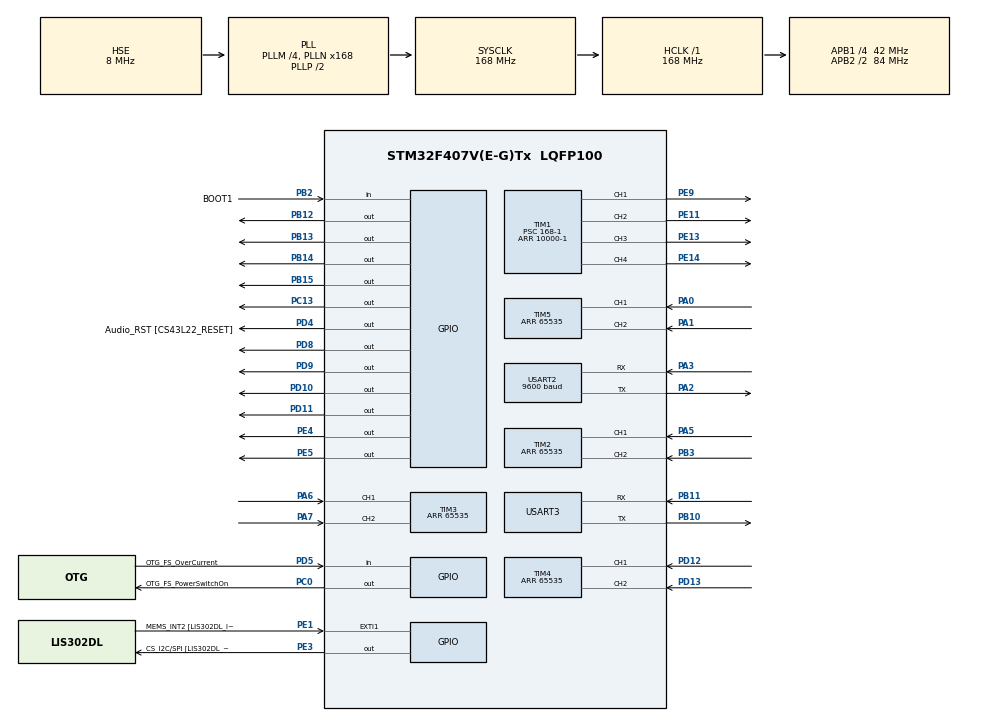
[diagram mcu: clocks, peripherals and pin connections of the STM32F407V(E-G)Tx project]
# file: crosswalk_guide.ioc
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Mcu.Family=STM32F4
Mcu.Name=STM32F407V(E-G)Tx
Mcu.Package=LQFP100
NVIC.PriorityGroup=NVIC_PRIORITYGROUP_0
NVIC.TIM6_DAC_IRQn=true\:0\:0\:false\:true\:true\:2\:true\:true
NVIC.USART2_IRQn=true\:0\:0\:false\:true\:true\:1\:true\:true
PA0-WKUP.Signal=S_TIM5_CH1
PA1.Signal=S_TIM5_CH2
PA2.Mode=Asynchronous
PA2.Signal=USART2_TX
PA3.Mode=Asynchronous
PA3.Signal=USART2_RX
PA5.Signal=S_TIM2_CH1_ETR
PA6.GPIO_PuPd=GPIO_NOPULL
PA6.Signal=S_TIM3_CH1
PA7.GPIO_PuPd=GPIO_NOPULL
PA7.Signal=S_TIM3_CH2
PB10.Mode=Asynchronous
PB10.Signal=USART3_TX
PB11.Mode=Asynchronous
PB11.Signal=USART3_RX
PB12.Signal=GPIO_Output
PB13.Signal=GPIO_Output
PB14.Signal=GPIO_Output
PB15.Signal=GPIO_Output
PB2.GPIO_Label=BOOT1
PB2.GPIO_Mode=GPIO_MODE_INPUT
PB2.GPIO_PuPd=GPIO_NOPULL
PB2.Signal=GPIO_Input
PB3.Signal=S_TIM2_CH2
PC0.GPIO_Label=OTG_FS_PowerSwitchOn
PC0.GPIO_PuPd=GPIO_NOPULL
PC0.GPIO_Speed=GPIO_SPEED_FREQ_LOW
PC0.PinState=GPIO_PIN_SET
PC0.Signal=GPIO_Output
PC13-ANTI_TAMP.Signal=GPIO_Output
PC14-OSC32_IN.Mode=LSE-External-Oscillator
PC14-OSC32_IN.Signal=RCC_OSC32_IN
PC15-OSC32_OUT.Mode=LSE-External-Oscillator
PC15-OSC32_OUT.Signal=RCC_OSC32_OUT
PD10.Signal=GPIO_Output
PD11.Signal=GPIO_Output
PD12.GPIO_PuPd=GPIO_NOPULL
PD12.Signal=S_TIM4_CH1
PD13.GPIO_PuPd=GPIO_NOPULL
PD13.Signal=S_TIM4_CH2
PD4.GPIO_Label=Audio_RST [CS43L22_RESET]
PD4.GPIO_PuPd=GPIO_NOPULL
PD4.GPIO_Speed=GPIO_SPEED_FREQ_LOW
PD4.Signal=GPIO_Output
PD5.GPIO_Label=OTG_FS_OverCurrent
PD5.GPIO_Mode=GPIO_MODE_INPUT
PD5.GPIO_PuPd=GPIO_NOPULL
PD5.Signal=GPIO_Input
PD8.Signal=GPIO_Output
PD9.Signal=GPIO_Output
PE1.GPIO_Label=MEMS_INT2 [LIS302DL_INT2]
PE1.GPIO_ModeDefaultEXTI=GPIO_MODE_EVT_RISING
PE1.GPIO_PuPd=GPIO_NOPULL
PE1.Signal=GPXTI1
PE11.Signal=S_TIM1_CH2
PE13.Signal=S_TIM1_CH3
PE14.Signal=S_TIM1_CH4
PE3.GPIO_Label=CS_I2C/SPI [LIS302DL_CS_I2C/SPI]
PE3.GPIO_PuPd=GPIO_NOPULL
PE3.GPIO_Speed=GPIO_SPEED_FREQ_LOW
PE3.Signal=GPIO_Output
PE4.Signal=GPIO_Output
PE5.Signal=GPIO_Output
PE9.Signal=S_TIM1_CH1
PH0-OSC_IN.Mode=HSE-External-Oscillator
PH0-OSC_IN.Signal=RCC_OSC_IN
PH1-OSC_OUT.Mode=HSE-External-Oscillator
PH1-OSC_OUT.Signal=RCC_OSC_OUT
ProjectManager.HeapSize=0x200
ProjectManager.StackSize=0x400
ProjectManager.TargetToolchain=TrueSTUDIO
RCC.48MHZClocksFreq_Value=48000000
RCC.AHBFreq_Value=168000000
RCC.APB1CLKDivider=RCC_HCLK_DIV4
RCC.APB1Freq_Value=42000000
RCC.APB1TimFreq_Value=84000000
RCC.APB2CLKDivider=RCC_HCLK_DIV2
RCC.APB2Freq_Value=84000000
RCC.APB2TimFreq_Value=168000000
RCC.CortexFreq_Value=168000000
RCC.HCLKFreq_Value=168000000
RCC.HSE_VALUE=8000000
RCC.HSI_VALUE=16000000
RCC.PLLM=4
RCC.PLLN=168
RCC.PLLQ=7
RCC.PLLSourceVirtual=RCC_PLLSOURCE_HSE
RCC.SYSCLKFreq_VALUE=168000000
RCC.SYSCLKSource=RCC_SYSCLKSOURCE_PLLCLK
RCC.VCOOutputFreq_Value=336000000
SH.S_TIM1_CH1.0=TIM1_CH1,PWM Generation1 CH1
SH.S_TIM1_CH2.0=TIM1_CH2,PWM Generation2 CH2
SH.S_TIM1_CH3.0=TIM1_CH3,PWM Generation3 CH3
SH.S_TIM1_CH4.0=TIM1_CH4,PWM Generation4 CH4
SH.S_TIM2_CH1_ETR.0=TIM2_CH1,Encoder_Interface
SH.S_TIM2_CH2.0=TIM2_CH2,Encoder_Interface
SH.S_TIM3_CH1.0=TIM3_CH1,Encoder_Interface
SH.S_TIM3_CH2.0=TIM3_CH2,Encoder_Interface
SH.S_TIM4_CH1.0=TIM4_CH1,Encoder_Interface
SH.S_TIM4_CH2.0=TIM4_CH2,Encoder_Interface
SH.S_TIM5_CH1.0=TIM5_CH1,Encoder_Interface
SH.S_TIM5_CH2.0=TIM5_CH2,Encoder_Interface
TIM1.Channel-PWM\ Generation1\ CH1=TIM_CHANNEL_1
TIM1.Channel-PWM\ Generation2\ CH2=TIM_CHANNEL_2
TIM1.Channel-PWM\ Generation3\ CH3=TIM_CHANNEL_3
TIM1.Channel-PWM\ Generation4\ CH4=TIM_CHANNEL_4
TIM1.Period=10000-1
TIM1.Prescaler=168-1
TIM2.EncoderMode=TIM_ENCODERMODE_TI12
TIM2.Period=65535
TIM3.EncoderMode=TIM_ENCODERMODE_TI12
TIM3.Period=65535
TIM4.EncoderMode=TIM_ENCODERMODE_TI12
TIM4.Period=65535
TIM5.EncoderMode=TIM_ENCODERMODE_TI12
TIM5.Period=65535
TIM6.Period=999
TIM6.Prescaler=4199
USART2.BaudRate=9600
USART2.VirtualMode=VM_ASYNC
USART3.VirtualMode=VM_ASYNC
VP_TIM1_VS_ClockSourceINT.Mode=Internal
VP_TIM6_VS_ClockSourceINT.Mode=Enable_Timer
board=STM32F407G-DISC1

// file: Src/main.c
/* USER CODE BEGIN Header */
/**
  ******************************************************************************
  * @file           : main.c
  * @brief          : Main program body
  ******************************************************************************
  * @attention
  *
  * <h2><center>&copy; Copyright (c) 2020 STMicroelectronics.
  * All rights reserved.</center></h2>
  *
  * This software component is licensed by ST under BSD 3-Clause license,
  * the "License"; You may not use this file except in compliance with the
  * License. You may obtain a copy of the License at:
  *                        opensource.org/licenses/BSD-3-Clause
  *
  ******************************************************************************
  */
/* USER CODE END Header */

#include "main.h"
#include "tim.h"
#include "usart.h"
#include "gpio.h"

/* USER CODE BEGIN Includes */
#include <math.h>
#include <stdbool.h>
/* USER CODE END Includes */

/* USER CODE BEGIN PV */
uint8_t rx2_data = 0;
uint16_t speed = 6000;
uint16_t speed_LR = 9000;
uint16_t speed_turn = 4000;

uint32_t desired_speed = 3000;
uint32_t MOTER_PWM[4] = {0};
uint32_t Kp = 1;
uint32_t encoder_cnt[4] = {0};
uint32_t encoder_speed[4] = {0};
int32_t error_speed[4] = {0};
int32_t PID_speed[4] = {0};
uint32_t old_PID_speed[4] = {3000, 3000, 3000, 3000};

/***********lidar************/
//response data
bool scan_start = false;
uint8_t rx3_start[7] = {0};
uint8_t rx3_data[5] = {0};
uint8_t Q = 0;
bool S = false;
uint16_t angle;
uint16_t d;
uint16_t distance[360] = {0};
int16_t avg_DIFF = 0;

//protocal
uint8_t scan_command[2] = {0xA5,0x20};
uint8_t stop_command[2] = {0xA5,0x25};
uint8_t soft_reboot[2] = {0xA5,0x40};
uint8_t scan_express[2] = {0xA5,0x82};
uint8_t scan_force[2] = {0xA5,0x21};
uint8_t device_info[2] = {0xA5,0x50};
uint8_t health_status[2] = {0xA5,0x52};
uint8_t sample_rate[2] = {0xA5,0x59};
uint8_t scan_response[7] = {0xa5, 0x5a, 0x5, 0x0, 0x0, 0x40, 0x81};
/* USER CODE END PV */

void SystemClock_Config(void);
static void MX_NVIC_Init(void);

/* USER CODE BEGIN 0 */
bool array_element_of_index_equal(uint8_t a[], uint8_t b[], uint8_t size) {
   uint8_t i;
   for(i=0; i<size; i++){
      if( a[i] != b[i] )
         return false;
   }
   return true;
}
int16_t array_avg_compare(uint16_t distance[]){

   uint32_t sum_R = 0;
   uint32_t sum_L = 0;
   uint8_t len_L = 0;
   uint8_t len_R = 0;
   uint16_t avg_R = 0;
   uint16_t avg_L = 0;
   int16_t avg_diff = 0;

   for(int i=0; i<90; i++){
      sum_R += distance[i];
      if(distance[i]!=0){
         len_R++;
      }
   }
   avg_R = sum_R/len_R;

   for(int i=270; i<360; i++){
      sum_L += distance[i];
      if(distance[i]!=0){
         len_L++;
      }
   }
   avg_L = sum_L/len_L;

   avg_diff = avg_R - avg_L;

   return avg_diff;
}
void HAL_TIM_PeriodElapsedCallback(TIM_HandleTypeDef *htim)	//Timer interrupt every 20ms
{
	if(htim->Instance == TIM6){

		//HAL_GPIO_WritePin(GPIOC,GPIO_PIN_13,GPIO_PIN_SET);
		encoder_cnt[0] = TIM2->CNT;
		TIM2->CNT=0;

		encoder_cnt[1] = TIM3->CNT;
		TIM3->CNT=0;

		encoder_cnt[2] = TIM4->CNT;
		TIM4->CNT=0;

		encoder_cnt[3] = TIM5->CNT;
		TIM5->CNT=0;

		encoder_speed[0] = 164.18 * exp(0.0112*encoder_cnt[0]);
		encoder_speed[1] = 164.18 * exp(0.0112*encoder_cnt[1]);
		encoder_speed[2] = 164.18 * exp(0.0112*encoder_cnt[2]);
		encoder_speed[3] = 164.18 * exp(0.0112*encoder_cnt[3]);

		error_speed[0] = desired_speed - encoder_speed[0];
		error_speed[1] = desired_speed - encoder_speed[1];
		error_speed[2] = desired_speed - encoder_speed[2];
		error_speed[3] = desired_speed - encoder_speed[3];

		PID_speed[0] = old_PID_speed[0] + Kp*error_speed[0];
		PID_speed[1] = old_PID_speed[1] + Kp*error_speed[1];
		PID_speed[2] = old_PID_speed[2] + Kp*error_speed[2];
		PID_speed[3] = old_PID_speed[3] + Kp*error_speed[3];

		old_PID_speed[0] = PID_speed[0];
		old_PID_speed[1] = PID_speed[1];
		old_PID_speed[2] = PID_speed[2];
		old_PID_speed[3] = PID_speed[3];
	}
}

/* USER CODE END 0 */

int main(void){

  /* MCU Configuration--------------------------------------------------------*/

  /* Reset of all peripherals, Initializes the Flash interface and the Systick. */
  HAL_Init();

  /* Configure the system clock */
  SystemClock_Config();

  /* Initialize all configured peripherals */
  MX_GPIO_Init();
  MX_TIM1_Init();
  MX_TIM2_Init();
  MX_TIM3_Init();
  MX_TIM4_Init();
  MX_TIM6_Init();
  MX_USART2_UART_Init();
  MX_USART3_UART_Init();
  MX_TIM5_Init();

  /* Initialize interrupts */
  MX_NVIC_Init();
  /* USER CODE BEGIN 2 */

  HAL_Delay(3000);

  //Initialize for motor PWM
  HAL_TIM_PWM_Start(&htim1, TIM_CHANNEL_1);
  HAL_TIM_PWM_Start(&htim1, TIM_CHANNEL_2);
  HAL_TIM_PWM_Start(&htim1, TIM_CHANNEL_3);
  HAL_TIM_PWM_Start(&htim1, TIM_CHANNEL_4);

  //Initialize for motor direction
  HAL_GPIO_WritePin(GPIOB, GPIO_PIN_12, SET);
  HAL_GPIO_WritePin(GPIOB, GPIO_PIN_13, RESET);

  HAL_GPIO_WritePin(GPIOB, GPIO_PIN_14, SET);
  HAL_GPIO_WritePin(GPIOB, GPIO_PIN_15, RESET);

  HAL_GPIO_WritePin(GPIOD, GPIO_PIN_8, SET);
  HAL_GPIO_WritePin(GPIOD, GPIO_PIN_9, RESET);

  HAL_GPIO_WritePin(GPIOD, GPIO_PIN_10, SET);
  HAL_GPIO_WritePin(GPIOD, GPIO_PIN_11, RESET);

  //Initialize for encoder count value
  TIM2->CNT = 0;
  TIM3->CNT = 0;
  TIM4->CNT = 0;
  TIM5->CNT = 0;

  //Initialize for Encoder
  HAL_TIM_Encoder_Start(&htim2, TIM_CHANNEL_ALL);
  HAL_TIM_Encoder_Start(&htim3, TIM_CHANNEL_ALL);
  HAL_TIM_Encoder_Start(&htim4, TIM_CHANNEL_ALL);
  HAL_TIM_Encoder_Start(&htim5, TIM_CHANNEL_ALL);

  //Initialize for timer interrupt initialization for Encoder (50ms)
  HAL_TIM_Base_Start_IT(&htim6);

  //LIDAR_scan_start
  //HAL_UART_Transmit(&huart3, &scan_command, 2, 100);

  //robotArm to Cart
  HAL_UART_Receive_IT(&huart2,&rx2_data,1);

  /* USER CODE END 2 */

  /* Infinite loop */
  /* USER CODE BEGIN WHILE */
  while (1)
  {

	  //LIDAR
	  /*
	  if(scan_start){
		  if(HAL_UART_Receive(&huart3, &rx3_data, 5, 10) == HAL_OK){

			 Q = rx3_data[0]>>2;
			 S = (rx3_data[0] & 0x01) ? 1 : 0;
			 angle = (rx3_data[2]<<7 | rx3_data[1]>>1)/64;
			 d = (rx3_data[4]<<8 | rx3_data[3])/4;
			 if(d >= 5000){
				distance[angle] = 5000;
			 }
			 else{
				distance[angle] = d;
			 }
			 //printf("%d,%d\r\n",S,angle);
			 //printf("a:%d\r\n",angle);
			 if(S == 1){
				avg_DIFF = array_avg_compare(distance);
				//printf("%d\r\n", avg_DIFF);
				MOTER_PWM[0] = PID_speed + avg_DIFF;
				MOTER_PWM[1] = PID_speed - avg_DIFF;
				MOTER_PWM[2] = PID_speed + avg_DIFF;
				MOTER_PWM[3] = PID_speed - avg_DIFF;
				memset(distance, 0, 360);
			 }
		  }
	   }
	   else{
		  if(HAL_UART_Receive(&huart3, &rx3_start, 7, 10) == HAL_OK){
			 if (array_element_of_index_equal(rx3_start, scan_response, 7)){
				scan_start = true;
			 }
		  }
	   }
	   */
	  /*
	  //LED
	   if(avg_DIFF > 0){
		  HAL_GPIO_WritePin(GPIOE,GPIO_PIN_4,GPIO_PIN_RESET);
		  HAL_GPIO_WritePin(GPIOE,GPIO_PIN_5,GPIO_PIN_SET);
		  //HAL_GPIO_WritePin(GPIOC,GPIO_PIN_13,GPIO_PIN_RESET);
	   }
	   else if(avg_DIFF < 0){
		  HAL_GPIO_WritePin(GPIOE,GPIO_PIN_4,GPIO_PIN_SET);
		  HAL_GPIO_WritePin(GPIOE,GPIO_PIN_5,GPIO_PIN_RESET);
		  //HAL_GPIO_WritePin(GPIOC,GPIO_PIN_13,GPIO_PIN_RESET);
	   }
	   else{
		  HAL_GPIO_WritePin(GPIOE,GPIO_PIN_4,GPIO_PIN_RESET);
		  HAL_GPIO_WritePin(GPIOE,GPIO_PIN_5,GPIO_PIN_RESET);
	   }
	   */
	   if(rx2_data != 0){

		  if(rx2_data == 1){
			  HAL_GPIO_WritePin(GPIOC,GPIO_PIN_13, GPIO_PIN_SET);
			  HAL_GPIO_WritePin(GPIOE, GPIO_PIN_4, SET);
			  HAL_GPIO_WritePin(GPIOE, GPIO_PIN_5, RESET);
			 //go right
			 HAL_GPIO_WritePin(GPIOB, GPIO_PIN_12, RESET);
			 HAL_GPIO_WritePin(GPIOB, GPIO_PIN_13, SET);

			 HAL_GPIO_WritePin(GPIOB, GPIO_PIN_14, SET);
			 HAL_GPIO_WritePin(GPIOB, GPIO_PIN_15, RESET);

			 HAL_GPIO_WritePin(GPIOD, GPIO_PIN_8, SET);
			 HAL_GPIO_WritePin(GPIOD, GPIO_PIN_9, RESET);

			 HAL_GPIO_WritePin(GPIOD, GPIO_PIN_10, RESET);
			 HAL_GPIO_WritePin(GPIOD, GPIO_PIN_11, SET);

			 TIM1->CCR1 = speed_LR; //6000
			 TIM1->CCR2 = speed_LR; //4500
			 TIM1->CCR3 = speed;//8000
			 TIM1->CCR4 = speed;//9999

			 HAL_Delay(100);

			 TIM1->CCR1 = 0;
			 TIM1->CCR2 = 0;
			 TIM1->CCR3 = 0;
			 TIM1->CCR4 = 0;

			 //HAL_Delay(2000);
		  }
		  else if(rx2_data == 2){
			  HAL_GPIO_WritePin(GPIOC,GPIO_PIN_13, GPIO_PIN_RESET);
			  HAL_GPIO_WritePin(GPIOE, GPIO_PIN_4, RESET);
			  HAL_GPIO_WritePin(GPIOE, GPIO_PIN_5, SET);
			 //go left
			 HAL_GPIO_WritePin(GPIOB, GPIO_PIN_12, SET);
			 HAL_GPIO_WritePin(GPIOB, GPIO_PIN_13, RESET);

			 HAL_GPIO_WritePin(GPIOB, GPIO_PIN_14, RESET);
			 HAL_GPIO_WritePin(GPIOB, GPIO_PIN_15, SET);

			 HAL_GPIO_WritePin(GPIOD, GPIO_PIN_8, RESET);
			 HAL_GPIO_WritePin(GPIOD, GPIO_PIN_9, SET);

			 HAL_GPIO_WritePin(GPIOD, GPIO_PIN_10, SET);
			 HAL_GPIO_WritePin(GPIOD, GPIO_PIN_11, RESET);

			 TIM1->CCR1 = speed_LR;
			 TIM1->CCR2 = speed_LR;
			 TIM1->CCR3 = speed;
			 TIM1->CCR4 = speed;

			 HAL_Delay(100);

			 TIM1->CCR1 = 0;
			 TIM1->CCR2 = 0;
			 TIM1->CCR3 = 0;
			 TIM1->CCR4 = 0;

			 //HAL_Delay(1000);
		  }
		  else if(rx2_data == 3){

			  HAL_GPIO_WritePin(GPIOC,GPIO_PIN_13, GPIO_PIN_SET);
			  HAL_GPIO_WritePin(GPIOE, GPIO_PIN_4, RESET);
			  HAL_GPIO_WritePin(GPIOE, GPIO_PIN_5, RESET);
			 //turn right
			 HAL_GPIO_WritePin(GPIOB, GPIO_PIN_12, SET);
			 HAL_GPIO_WritePin(GPIOB, GPIO_PIN_13, RESET);

			 HAL_GPIO_WritePin(GPIOB, GPIO_PIN_14, RESET);
			 HAL_GPIO_WritePin(GPIOB, GPIO_PIN_15, SET);

			 HAL_GPIO_WritePin(GPIOD, GPIO_PIN_8, SET);
			 HAL_GPIO_WritePin(GPIOD, GPIO_PIN_9, RESET);

			 HAL_GPIO_WritePin(GPIOD, GPIO_PIN_10, RESET);
			 HAL_GPIO_WritePin(GPIOD, GPIO_PIN_11, SET);

			 TIM1->CCR1 = speed_turn;
			 TIM1->CCR2 = speed_turn;
			 TIM1->CCR3 = speed_turn;
			 TIM1->CCR4 = speed_turn;

			 HAL_Delay(1000);

			 TIM1->CCR1 = 0;
			 TIM1->CCR2 = 0;
			 TIM1->CCR3 = 0;
			 TIM1->CCR4 = 0;

			 //forward
			 HAL_GPIO_WritePin(GPIOB, GPIO_PIN_12, SET);
			 HAL_GPIO_WritePin(GPIOB, GPIO_PIN_13, RESET);

			 HAL_GPIO_WritePin(GPIOB, GPIO_PIN_14, SET);
			 HAL_GPIO_WritePin(GPIOB, GPIO_PIN_15, RESET);

			 HAL_GPIO_WritePin(GPIOD, GPIO_PIN_8, SET);
			 HAL_GPIO_WritePin(GPIOD, GPIO_PIN_9, RESET);

			 HAL_GPIO_WritePin(GPIOD, GPIO_PIN_10, SET);
			 HAL_GPIO_WritePin(GPIOD, GPIO_PIN_11, RESET);

			 //HAL_Delay(1000);

			 HAL_UART_Transmit(&huart3, &scan_command, 2, 100);
		  }
		  else if(rx2_data == 5){
			  HAL_GPIO_WritePin(GPIOC,GPIO_PIN_13,GPIO_PIN_SET);
			  HAL_GPIO_WritePin(GPIOE, GPIO_PIN_4, RESET);
			  HAL_GPIO_WritePin(GPIOE, GPIO_PIN_5, RESET);

			 HAL_UART_Transmit(&huart3, &stop_command, 2, 100);
			 avg_DIFF = 0;

			 TIM1->CCR1 = 0;
			 TIM1->CCR2 = 0;
			 TIM1->CCR3 = 0;
			 TIM1->CCR4 = 0;
			 HAL_Delay(1000);

			 //turn right
			 HAL_GPIO_WritePin(GPIOB, GPIO_PIN_12, SET);
			 HAL_GPIO_WritePin(GPIOB, GPIO_PIN_13, RESET);

			 HAL_GPIO_WritePin(GPIOB, GPIO_PIN_14, RESET);
			 HAL_GPIO_WritePin(GPIOB, GPIO_PIN_15, SET);

			 HAL_GPIO_WritePin(GPIOD, GPIO_PIN_8, SET);
			 HAL_GPIO_WritePin(GPIOD, GPIO_PIN_9, RESET);

			 HAL_GPIO_WritePin(GPIOD, GPIO_PIN_10, RESET);
			 HAL_GPIO_WritePin(GPIOD, GPIO_PIN_11, SET);

			 TIM1->CCR1 = speed_turn;
			 TIM1->CCR2 = speed_turn;
			 TIM1->CCR3 = speed_turn;
			 TIM1->CCR4 = speed_turn;

			 HAL_Delay(1000);

			 TIM1->CCR1 = 0;
			 TIM1->CCR2 = 0;
			 TIM1->CCR3 = 0;
			 TIM1->CCR4 = 0;

		  }
		  HAL_GPIO_WritePin(GPIOC,GPIO_PIN_13, GPIO_PIN_RESET);
		  HAL_GPIO_WritePin(GPIOE, GPIO_PIN_4, RESET);
		  HAL_GPIO_WritePin(GPIOE, GPIO_PIN_5, RESET);
		  rx2_data = 0;
	   }

	  //MOTOR PWM generation
//	  if(MOTER_PWM[0]>7000){
//		  HAL_GPIO_WritePin(GPIOC,GPIO_PIN_13,GPIO_PIN_SET);
//	  }
	  if(MOTER_PWM[0]>10000){
		  //HAL_GPIO_WritePin(GPIOC,GPIO_PIN_13,GPIO_PIN_SET);
		  MOTER_PWM[0] = 10000;
	  }
	  if(MOTER_PWM[1]>10000){
		  MOTER_PWM[1] = 10000;
	  }
	  if(MOTER_PWM[2]>10000){
		  MOTER_PWM[2] = 10000;
	  }
	  if(MOTER_PWM[3]>10000){
		  MOTER_PWM[3] = 10000;
	  }
	  TIM1->CCR1 = MOTER_PWM[0];
	  TIM1->CCR2 = MOTER_PWM[1];
	  TIM1->CCR3 = MOTER_PWM[2];
	  TIM1->CCR4 = MOTER_PWM[3];

    /* USER CODE END WHILE */

  }
}

void SystemClock_Config(void)
{
  RCC_OscInitTypeDef RCC_OscInitStruct = {0};
  RCC_ClkInitTypeDef RCC_ClkInitStruct = {0};

  /** Configure the main internal regulator output voltage
  */
  __HAL_RCC_PWR_CLK_ENABLE();
  __HAL_PWR_VOLTAGESCALING_CONFIG(PWR_REGULATOR_VOLTAGE_SCALE1);
  /** Initializes the CPU, AHB and APB busses clocks
  */
  RCC_OscInitStruct.OscillatorType = RCC_OSCILLATORTYPE_HSE;
  RCC_OscInitStruct.HSEState = RCC_HSE_ON;
  RCC_OscInitStruct.PLL.PLLState = RCC_PLL_ON;
  RCC_OscInitStruct.PLL.PLLSource = RCC_PLLSOURCE_HSE;
  RCC_OscInitStruct.PLL.PLLM = 4;
  RCC_OscInitStruct.PLL.PLLN = 168;
  RCC_OscInitStruct.PLL.PLLP = RCC_PLLP_DIV2;
  RCC_OscInitStruct.PLL.PLLQ = 7;
  if (HAL_RCC_OscConfig(&RCC_OscInitStruct) != HAL_OK)
  {
    Error_Handler();
  }
  /** Initializes the CPU, AHB and APB busses clocks
  */
  RCC_ClkInitStruct.ClockType = RCC_CLOCKTYPE_HCLK|RCC_CLOCKTYPE_SYSCLK
                              |RCC_CLOCKTYPE_PCLK1|RCC_CLOCKTYPE_PCLK2;
  RCC_ClkInitStruct.SYSCLKSource = RCC_SYSCLKSOURCE_PLLCLK;
  RCC_ClkInitStruct.AHBCLKDivider = RCC_SYSCLK_DIV1;
  RCC_ClkInitStruct.APB1CLKDivider = RCC_HCLK_DIV4;
  RCC_ClkInitStruct.APB2CLKDivider = RCC_HCLK_DIV2;

  if (HAL_RCC_ClockConfig(&RCC_ClkInitStruct, FLASH_LATENCY_5) != HAL_OK)
  {
    Error_Handler();
  }
}

/**
  * @brief NVIC Configuration.
  * @retval None
  */
static void MX_NVIC_Init(void)
{
  /* USART2_IRQn interrupt configuration */
  HAL_NVIC_SetPriority(USART2_IRQn, 0, 0);
  HAL_NVIC_EnableIRQ(USART2_IRQn);
  /* TIM6_DAC_IRQn interrupt configuration */
  HAL_NVIC_SetPriority(TIM6_DAC_IRQn, 0, 0);
  HAL_NVIC_EnableIRQ(TIM6_DAC_IRQn);
}

/* USER CODE BEGIN 4 */
void HAL_UART_RxCpltCallback(UART_HandleTypeDef *huart)
{
  if(huart->Instance==USART2){
     HAL_UART_Receive_IT(&huart2,&rx2_data,1);
  }
}
/* USER CODE END 4 */

void Error_Handler(void)
{
}

/************************ (C) COPYRIGHT STMicroelectronics *****END OF FILE****/
